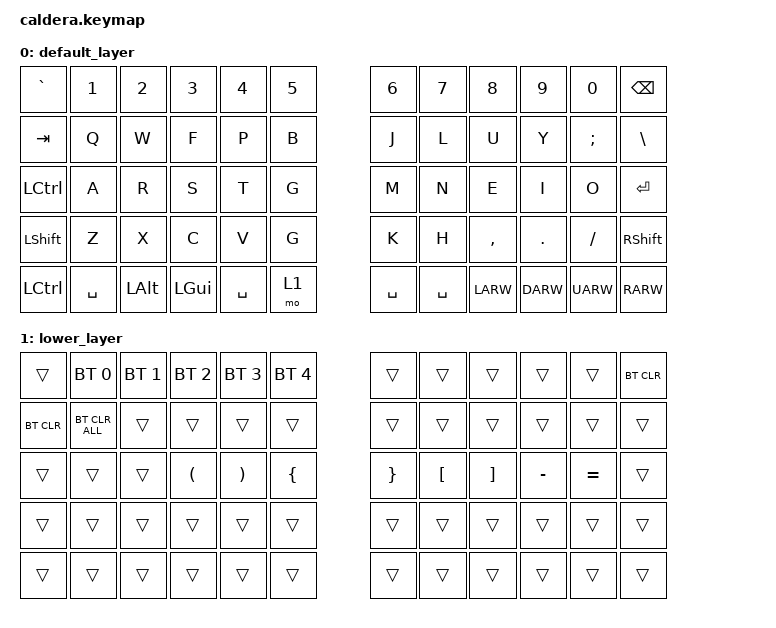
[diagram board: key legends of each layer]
#include <behaviors.dtsi>
#include <dt-bindings/zmk/keys.h>
#include <dt-bindings/zmk/bt.h>

/ {
        keymap {
                compatible = "zmk,keymap";

                default_layer {
// ---------------------------------------------------------------------------------
// |   `  |  1  |  2  |  3  |  4  |  5  |     |  6  |  7  |  8  |  9  |  0  | BKSP |
// |  TAB |  Q  |  W  |  E  |  R  |  T  |     |  Y  |  U  |  I  |  O  |  P  |  \   |
// | CAPS |  A  |  S  |  D  |  F  |  G  |     |  H  |  J  |  K  |  L  |  ;  |  ENT |
// | SHFT |  Z  |  X  |  C  |  V  |  B  |     |  N  |  M  |  ,  |  .  |  /  | APOS |
// | CTRL | ALT | GUI | SPC | SPC | SPC |     | SPC | LOW |LARW |DARW |UARW | RARW |
                        bindings = <
   &kp GRAVE  &kp N1    &kp N2    &kp N3     &kp N4     &kp N5               &kp N6     &kp N7     &kp N8     &kp N9    &kp N0    &kp BSPC
   &kp TAB    &kp Q     &kp W     &kp F      &kp P      &kp B                &kp J      &kp L      &kp U      &kp Y     &kp SEMI  &kp BSLH
   &kp LCTRL  &kp A     &kp R     &kp S      &kp T      &kp G                &kp M      &kp N      &kp E      &kp I     &kp O     &kp RET
   &kp LSHFT  &kp Z     &kp X     &kp C      &kp V      &kp G                &kp K      &kp H      &kp COMMA  &kp DOT   &kp FSLH  &kp RSHFT
   &kp LCTRL  &kp SPACE &kp LALT  &kp LGUI   &kp SPACE  &mo 1                &kp SPACE  &kp SPACE  &kp LARW   &kp DARW  &kp UARW  &kp RARW
                        >;
                };
                lower_layer {
// ------------------------------------------------------------------------------------------------------------
// |       |  BT1  |  BT2  |  BT3  |  BT4  |  BT5  |          |       |       |       |       |       | BTCLR |
// |       |       |       |       |       |       |          |       |       |       |       |       |       |
// |       |       |       | LPAR  | RPAR  |       |          |       | LBKT  | RBKT  |       |       |       |
// |       |       |       |       |       |       |          |       |       |       |       |       |       |
                        bindings = <
   &trans     &bt BT_SEL 0   &bt BT_SEL 1   &bt BT_SEL 2   &bt BT_SEL 3   &bt BT_SEL 4         &trans    &trans    &trans   &trans   &trans  &bt BT_CLR
   &bt BT_CLR &bt BT_CLR_ALL &trans         &trans         &trans         &trans               &trans    &trans    &trans   &trans   &trans  &trans
   &trans     &trans         &trans         &kp LPAR       &kp RPAR       &kp LBRC             &kp RBRC  &kp LBKT  &kp RBKT &kp MINUS   &kp EQUAL  &trans
   &trans     &trans         &trans         &trans         &trans         &trans               &trans    &trans    &trans   &trans   &trans  &trans
   &trans     &trans         &trans         &trans         &trans         &trans               &trans    &trans    &trans   &trans   &trans  &trans
                        >;
                };
        };
};
